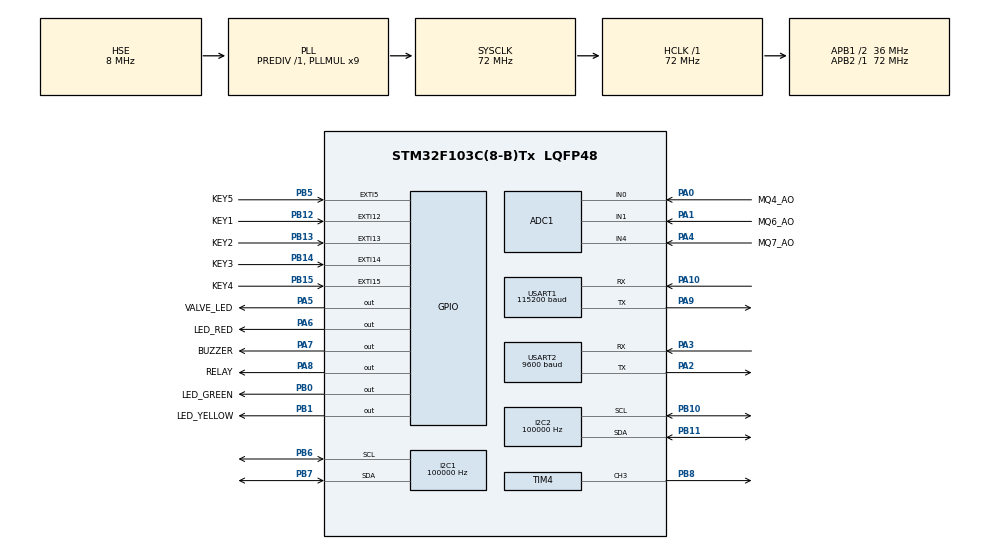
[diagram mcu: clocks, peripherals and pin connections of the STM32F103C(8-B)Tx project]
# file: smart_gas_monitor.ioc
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ADC1.Channel-0\#ChannelRegularConversion=ADC_CHANNEL_0
ADC1.NbrOfConversionFlag=1
ADC1.Rank-0\#ChannelRegularConversion=1
ADC1.SamplingTime-0\#ChannelRegularConversion=ADC_SAMPLETIME_239CYCLES_5
ADC1.master=1
I2C1.ClockSpeed=100000
I2C2.ClockSpeed=100000
Mcu.Family=STM32F1
Mcu.Name=STM32F103C(8-B)Tx
Mcu.Package=LQFP48
NVIC.EXTI15_10_IRQn=true\:0\:0\:false\:false\:true\:false\:true\:true
NVIC.EXTI9_5_IRQn=true\:0\:1\:false\:false\:true\:false\:true\:true
NVIC.PriorityGroup=NVIC_PRIORITYGROUP_4
NVIC.TIM2_IRQn=true\:1\:0\:false\:false\:true\:false\:true\:true
NVIC.USART1_IRQn=true\:2\:0\:false\:false\:true\:false\:true\:true
NVIC.USART2_IRQn=true\:2\:0\:false\:false\:true\:false\:true\:true
PA0-WKUP.GPIO_Label=MQ4_AO
PA0-WKUP.Signal=ADCx_IN0
PA1.GPIO_Label=MQ6_AO
PA1.Signal=ADCx_IN1
PA10.GPIO_PuPd=GPIO_PULLUP
PA10.Mode=Asynchronous
PA10.Signal=USART1_RX
PA13.Mode=Serial_Wire
PA13.Signal=SYS_JTMS-SWDIO
PA14.Mode=Serial_Wire
PA14.Signal=SYS_JTCK-SWCLK
PA2.Mode=Asynchronous
PA2.Signal=USART2_TX
PA3.GPIO_PuPd=GPIO_PULLUP
PA3.Mode=Asynchronous
PA3.Signal=USART2_RX
PA4.GPIO_Label=MQ7_AO
PA4.Signal=ADCx_IN4
PA5.GPIO_Label=VALVE_LED
PA5.Signal=GPIO_Output
PA6.GPIO_Label=LED_RED
PA6.Signal=GPIO_Output
PA7.GPIO_Label=BUZZER
PA7.Signal=GPIO_Output
PA8.GPIO_Label=RELAY
PA8.Signal=GPIO_Output
PA9.Mode=Asynchronous
PA9.Signal=USART1_TX
PB0.GPIO_Label=LED_GREEN
PB0.Signal=GPIO_Output
PB1.GPIO_Label=LED_YELLOW
PB1.Signal=GPIO_Output
PB10.Mode=I2C
PB10.Signal=I2C2_SCL
PB11.Mode=I2C
PB11.Signal=I2C2_SDA
PB12.GPIO_Label=KEY1
PB12.GPIO_ModeDefaultEXTI=GPIO_MODE_IT_FALLING
PB12.GPIO_PuPd=GPIO_PULLUP
PB12.Signal=GPXTI12
PB13.GPIO_Label=KEY2
PB13.GPIO_ModeDefaultEXTI=GPIO_MODE_IT_FALLING
PB13.GPIO_PuPd=GPIO_PULLUP
PB13.Signal=GPXTI13
PB14.GPIO_Label=KEY3
PB14.GPIO_ModeDefaultEXTI=GPIO_MODE_IT_FALLING
PB14.GPIO_PuPd=GPIO_PULLUP
PB14.Signal=GPXTI14
PB15.GPIO_Label=KEY4
PB15.GPIO_ModeDefaultEXTI=GPIO_MODE_IT_FALLING
PB15.GPIO_PuPd=GPIO_PULLUP
PB15.Signal=GPXTI15
PB5.GPIO_Label=KEY5
PB5.GPIO_ModeDefaultEXTI=GPIO_MODE_IT_FALLING
PB5.GPIO_PuPd=GPIO_PULLUP
PB5.Signal=GPXTI5
PB6.Mode=I2C
PB6.Signal=I2C1_SCL
PB7.Mode=I2C
PB7.Signal=I2C1_SDA
PB8.GPIO_Speed=GPIO_SPEED_FREQ_HIGH
PB8.Signal=S_TIM4_CH3
PD0-OSC_IN.Mode=HSE-External-Oscillator
PD0-OSC_IN.Signal=RCC_OSC_IN
PD1-OSC_OUT.Mode=HSE-External-Oscillator
PD1-OSC_OUT.Signal=RCC_OSC_OUT
ProjectManager.HeapSize=0x200
ProjectManager.StackSize=0x400
ProjectManager.TargetToolchain=MDK-ARM V5.32
RCC.ADCPresc=RCC_ADCPCLK2_DIV6
RCC.AHBFreq_Value=72000000
RCC.APB1CLKDivider=RCC_HCLK_DIV2
RCC.APB1Freq_Value=36000000
RCC.APB1TimFreq_Value=72000000
RCC.APB2Freq_Value=72000000
RCC.APB2TimFreq_Value=72000000
RCC.HCLKFreq_Value=72000000
RCC.PLLMUL=RCC_PLL_MUL9
RCC.PLLSourceVirtual=RCC_PLLSOURCE_HSE
RCC.SYSCLKFreq_VALUE=72000000
RCC.SYSCLKSource=RCC_SYSCLKSOURCE_PLLCLK
RCC.USBFreq_Value=72000000
SH.ADCx_IN0.0=ADC1_IN0,IN0
SH.ADCx_IN1.0=ADC1_IN1,IN1
SH.ADCx_IN4.0=ADC1_IN4,IN4
SH.S_TIM4_CH3.0=TIM4_CH3,PWM Generation3 CH3
TIM2.AutoReloadPreload=TIM_AUTORELOAD_PRELOAD_DISABLE
TIM2.ClockDivision=TIM_CLOCKDIVISION_DIV1
TIM2.CounterMode=TIM_COUNTERMODE_UP
TIM2.Period=9999
TIM2.Prescaler=71
TIM4.Channel-PWM\ Generation3\ CH3=TIM_CHANNEL_3
TIM4.Period=19999
TIM4.Prescaler=71
TIM4.Pulse-PWM\ Generation3\ CH3=500
USART1.BaudRate=115200
USART1.VirtualMode=VM_ASYNC
USART2.BaudRate=9600
USART2.VirtualMode=VM_ASYNC
VP_TIM2_VS_ClockSourceINT.Mode=Internal
board=custom

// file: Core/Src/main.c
/* USER CODE BEGIN Header */
/**
  ******************************************************************************
  * @file           : main.c
  * @brief          : Main program body
  ******************************************************************************
  * @attention
  *
  * Copyright (c) 2026 STMicroelectronics.
  * All rights reserved.
  *
  * This software is licensed under terms that can be found in the LICENSE file
  * in the root directory of this software component.
  * If no LICENSE file comes with this software, it is provided AS-IS.
  *
  ******************************************************************************
  */
/* USER CODE END Header */
#include "main.h"
#include "adc.h"
#include "i2c.h"
#include "tim.h"
#include "usart.h"
#include "gpio.h"

/* USER CODE BEGIN Includes */
#include "app.h"
#include "alarm/alarm.h"
#include "bsp_buzzer.h"
/* USER CODE END Includes */

void SystemClock_Config(void);

/* USER CODE BEGIN 0 */

/* Power is always present in the current hardware.  Hold the application at
 * a safe, inactive startup gate until KEY5 is pressed, then release it
 * before app_init() arms the normal warm-up/monitoring flow. */
static void wait_for_start_key(void)
{
  while (HAL_GPIO_ReadPin(KEY5_GPIO_Port, KEY5_Pin) == GPIO_PIN_SET)
  {
    HAL_Delay(20);
  }
  HAL_Delay(30);
  while (HAL_GPIO_ReadPin(KEY5_GPIO_Port, KEY5_Pin) == GPIO_PIN_RESET)
  {
    HAL_Delay(10);
  }
}

/* USER CODE END 0 */

int main(void)
{

  /* MCU Configuration--------------------------------------------------------*/

  /* Reset of all peripherals, Initializes the Flash interface and the Systick. */
  HAL_Init();

  /* Configure the system clock */
  SystemClock_Config();

  /* Initialize all configured peripherals */
  MX_GPIO_Init();
  MX_ADC1_Init();
  MX_I2C1_Init();
  MX_I2C2_Init();
  MX_USART1_UART_Init();
  MX_USART2_UART_Init();
  MX_TIM2_Init();
  MX_TIM4_Init();
  /* USER CODE BEGIN 2 */
  /* MX_GPIO_Init() 里那句 HAL_GPIO_WritePin 把 BUZZER_Pin 也拉低了，那是按高
   * 电平触发生成的。本项目的蜂鸣器低电平触发，所以上电到 alarm_init() 之间它会
   * 一直响；这里先摆回空闲电平，别等 app_init()。 */
  bsp_buzzer_set(false);
  wait_for_start_key();
  if (!app_init())
  {
    Error_Handler();
  }
  /* USER CODE END 2 */

  /* Infinite loop */
  while (1)
  {

    /* USER CODE BEGIN 3 */
    app_update();
  }
  /* USER CODE END 3 */
}

void SystemClock_Config(void)
{
  RCC_OscInitTypeDef RCC_OscInitStruct = {0};
  RCC_ClkInitTypeDef RCC_ClkInitStruct = {0};
  RCC_PeriphCLKInitTypeDef PeriphClkInit = {0};

  /** Initializes the RCC Oscillators according to the specified parameters
  * in the RCC_OscInitTypeDef structure.
  */
  RCC_OscInitStruct.OscillatorType = RCC_OSCILLATORTYPE_HSE;
  RCC_OscInitStruct.HSEState = RCC_HSE_ON;
  RCC_OscInitStruct.HSEPredivValue = RCC_HSE_PREDIV_DIV1;
  RCC_OscInitStruct.HSIState = RCC_HSI_ON;
  RCC_OscInitStruct.PLL.PLLState = RCC_PLL_ON;
  RCC_OscInitStruct.PLL.PLLSource = RCC_PLLSOURCE_HSE;
  RCC_OscInitStruct.PLL.PLLMUL = RCC_PLL_MUL9;
  if (HAL_RCC_OscConfig(&RCC_OscInitStruct) != HAL_OK)
  {
    Error_Handler();
  }

  /** Initializes the CPU, AHB and APB buses clocks
  */
  RCC_ClkInitStruct.ClockType = RCC_CLOCKTYPE_HCLK|RCC_CLOCKTYPE_SYSCLK
                              |RCC_CLOCKTYPE_PCLK1|RCC_CLOCKTYPE_PCLK2;
  RCC_ClkInitStruct.SYSCLKSource = RCC_SYSCLKSOURCE_PLLCLK;
  RCC_ClkInitStruct.AHBCLKDivider = RCC_SYSCLK_DIV1;
  RCC_ClkInitStruct.APB1CLKDivider = RCC_HCLK_DIV2;
  RCC_ClkInitStruct.APB2CLKDivider = RCC_HCLK_DIV1;

  if (HAL_RCC_ClockConfig(&RCC_ClkInitStruct, FLASH_LATENCY_2) != HAL_OK)
  {
    Error_Handler();
  }
  PeriphClkInit.PeriphClockSelection = RCC_PERIPHCLK_ADC;
  PeriphClkInit.AdcClockSelection = RCC_ADCPCLK2_DIV6;
  if (HAL_RCCEx_PeriphCLKConfig(&PeriphClkInit) != HAL_OK)
  {
    Error_Handler();
  }
}

void Error_Handler(void)
{
  /* USER CODE BEGIN Error_Handler_Debug */
  __HAL_RCC_GPIOA_CLK_ENABLE();
  alarm_force_safe();
  /* User can add his own implementation to report the HAL error return state */
  __disable_irq();
  while (1)
  {
  }
  /* USER CODE END Error_Handler_Debug */
}
